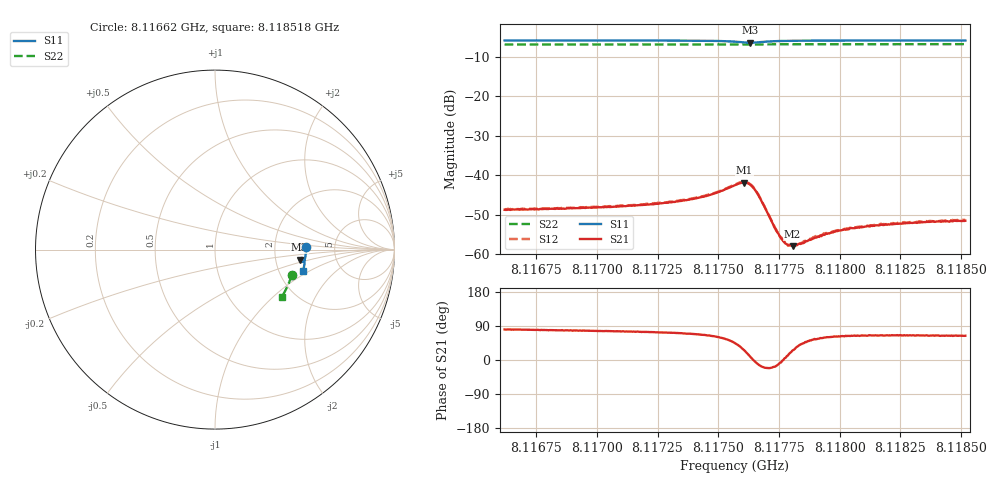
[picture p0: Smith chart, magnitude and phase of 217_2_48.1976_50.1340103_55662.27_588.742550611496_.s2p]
#  HZ  S  RI  R  50.00
! Rohde & Schwarz Vector Network Analyzer
! Rohde-Schwarz,ZNB20-2Port,1311601062101988,3.16
! Created: UTC 3/20/2024, 11:45:47 AM
! freq[Hz]  re:S11  im:S11  re:S21  im:S21  re:S12  im:S12  re:S22  im:S22
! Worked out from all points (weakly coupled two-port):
!   401 points, 8.11662 GHz to 8.118518 GHz, reference 50 ohm
!   highest |S21| = -41.87 dB at 8.117607 GHz (marker M1); lowest = -58.0 dB at 8.117806 GHz (marker M2)
!   lowest |S11| = -6.5 dB at 8.117631 GHz (marker M3), VSWR 2.81, Z = 137 - j20.1 ohm
!   |S11| at or under -10 dB: nowhere
!   |S22| runs from -6.9 to -6.8 dB; largest |S21 - S12| = 0.00021
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8.1166201e9  0.5067 0.0121  0.000592 0.0036  0.000684 0.00363  0.4263 -0.1439
8.1169379e9  0.506 -0.0125  0.000845 0.00377  0.000902 0.00381  0.4196 -0.165
8.1172558e9  0.5037 -0.0382  0.0013 0.00417  0.00135 0.00425  0.4119 -0.1859
8.1173744e9  0.5016 -0.0491  0.0017 0.00459  0.00179 0.00461  0.4086 -0.1934
8.1174503e9  0.4989 -0.0568  0.00227 0.00495  0.00238 0.00507  0.4065 -0.1984
8.1175073e9  0.4948 -0.0634  0.00318 0.00534  0.00326 0.00542  0.4046 -0.202
8.117569e9  0.4843 -0.0691  0.00534 0.00525  0.00548 0.0053  0.4024 -0.206
8.1176069e9  0.4739 -0.0651  0.00727 0.0035  0.00748 0.00349  0.4008 -0.208
8.1176306e9  0.471 -0.0568  0.00751 0.00127  0.00763 0.00122  0.4002 -0.2089
8.1176449e9  0.4728 -0.0515  0.00691 -2.43e-05  0.00705 -0.000122  0.3999 -0.2095
8.1176638e9  0.478 -0.0471  0.00556 -0.00107  0.00567 -0.0012  0.3997 -0.2106
8.1177303e9  0.4935 -0.0514  0.00211 -0.000681  0.00217 -0.000721  0.3984 -0.2149
8.1177587e9  0.496 -0.0556  0.00157 -0.000171  0.00163 -0.000186  0.3976 -0.2167
8.1177825e9  0.4974 -0.0589  0.00132 0.000235  0.00132 0.00022  0.3969 -0.2185
8.1178062e9  0.4981 -0.062  0.00114 0.000542  0.00116 0.000547  0.3962 -0.2199
8.1178394e9  0.4985 -0.0659  0.00101 0.000886  0.00105 0.000896  0.3953 -0.2221
8.1178868e9  0.4988 -0.0708  0.000926 0.00125  0.000962 0.00127  0.3936 -0.2252
8.1179485e9  0.4986 -0.0768  0.000896 0.00157  0.000953 0.00158  0.3917 -0.229
8.1180102e9  0.498 -0.0823  0.000912 0.0018  0.000974 0.00182  0.3896 -0.2328
8.1182047e9  0.4954 -0.0983  0.001 0.00215  0.00105 0.00219  0.3829 -0.245
8.1183755e9  0.4926 -0.1114  0.00111 0.00233  0.00111 0.00239  0.3767 -0.2551
8.1185179e9  0.49 -0.1219  0.00116 0.00238  0.00121 0.00242  0.3714 -0.2635
